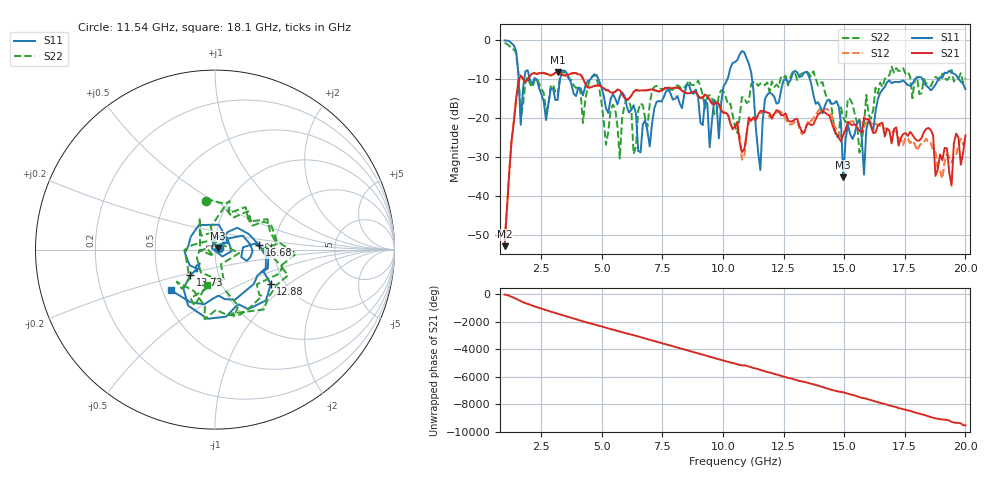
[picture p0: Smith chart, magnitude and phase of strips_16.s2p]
!Agilent Technologies,N5230A,MY45001629,A.07.50.67
!Agilent N5230A: A.07.50.67
!Date: Monday, June 05, 2017 16:33:31
!Correction: S11(Full 2 Port(1,2))
!S21(Full 2 Port(1,2))
!S12(Full 2 Port(1,2))
!S22(Full 2 Port(1,2))
!S2P File: Measurements: S11, S21, S12, S22:
# Hz S  dB  R 50
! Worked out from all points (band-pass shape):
!   201 points, 1 GHz to 20 GHz, reference 50 ohm
!   highest |S21| = -8.27 dB at 3.185 GHz (marker M1); lowest = -52.8 dB at 1 GHz (marker M2)
!   |S21| within 3 dB of the highest: 1.557 GHz to 4.325 GHz (2.768 GHz wide, 94.1 % of centre)
!   lowest |S11| = -35.2 dB at 14.96 GHz (marker M3), VSWR 1.04, Z = 51.5 + j0.913 ohm
!   |S11| at or under -10 dB: 4.86 GHz to 10.2 GHz (5.335 GHz wide, 70.9 % of centre); 11.2 GHz to 12.81 GHz (1.61 GHz wide, 13.4 % of centre); 13.58 GHz to 17.95 GHz (4.371 GHz wide, 27.7 % of centre)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
!   |S22| runs from -30.4 to -0.9 dB; largest |S21 - S12| = 0.038
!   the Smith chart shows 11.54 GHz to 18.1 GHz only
!   S11 on the Smith chart (normalised r, x): 11.54 GHz: 1.04, +0.01; 12.88 GHz: 1.70, -0.75; 13.73 GHz: 0.73, -0.22; 16.68 GHz: 1.66, +0.08; 18.1 GHz: 0.55, -0.28
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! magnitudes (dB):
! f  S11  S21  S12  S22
! 1 GHz  -0.2  -52.8  -51.3  -0.9
! 1.57 GHz  -8.9  -10.6  -10.6  -8.6
! 3.185 GHz  -15.4  -8.3  -8.3  -14.2
! 4.23 GHz  -14.3  -9.9  -9.9  -21.3
! 4.705 GHz  -8.9  -11.8  -11.8  -8.9
! 6.32 GHz  -16.8  -13.4  -13.4  -29.2
! 7.365 GHz  -15.7  -13.3  -13.2  -12.4
! 9.455 GHz  -27.5  -15.4  -15.4  -14.2
! 10.5 GHz  -5.8  -22.2  -22.4  -22.2
! 11.16 GHz  -8.3  -20.8  -20.2  -11.4
! 11.54 GHz  -33.3  -18.2  -18.8  -11.2
! 11.73 GHz  -15.2  -18.4  -18.4  -11.7
! 12.88 GHz  -8.7  -20.8  -21.5  -8.3
! 13.73 GHz  -14.0  -21.7  -20.1  -8.1
! 14.78 GHz  -17.0  -25.1  -23.8  -24.7
! 14.96 GHz  -35.2  -24.3  -23.9  -20.0
! 15.63 GHz  -20.5  -23.3  -20.4  -28.9
! 15.82 GHz  -34.5  -19.9  -22.3  -21.6
! 16.68 GHz  -12.1  -24.8  -22.7  -10.1
! 16.86 GHz  -10.4  -23.3  -23.5  -9.2
! 18.1 GHz  -9.5  -25.8  -27.2  -14.0
! 20 GHz  -12.7  -24.5  -25.8  -9.8
